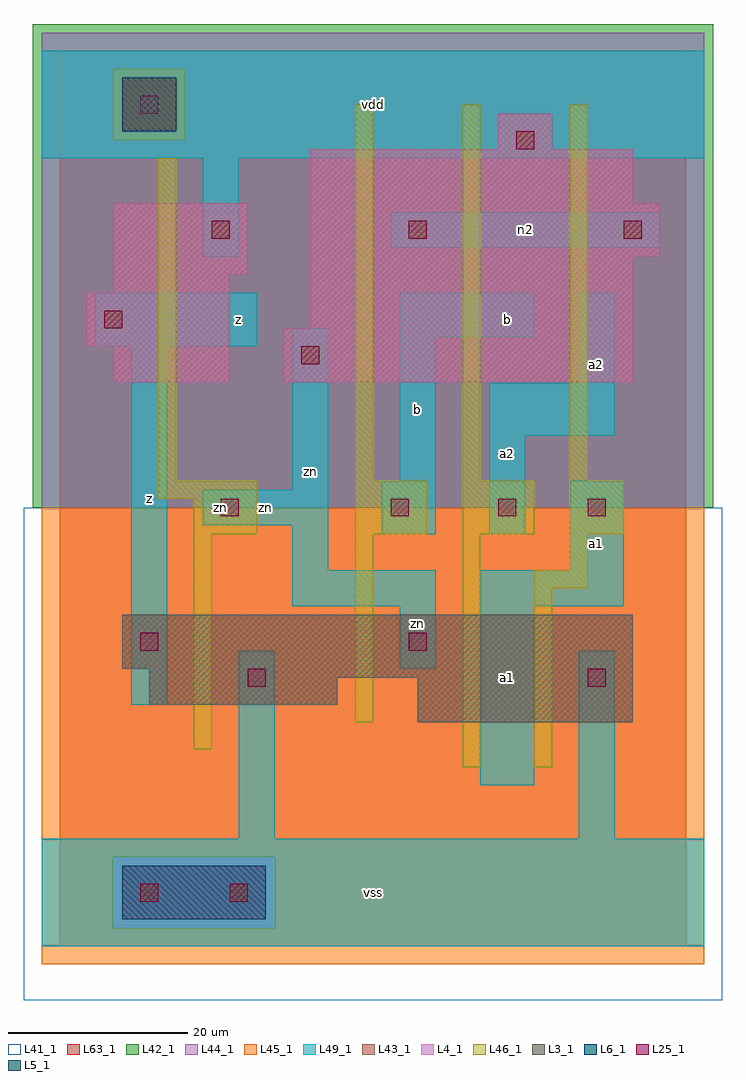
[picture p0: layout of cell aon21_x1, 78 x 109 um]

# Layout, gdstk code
import gdstk
lib = gdstk.Library(unit=1e-6, precision=1e-09)
def R(c, l, rs):  # rectangles x0, y0, x1, y1
    for r in rs: c.add(gdstk.rectangle(r[:2], r[2:], *l))
def A(c, l, x, y, w, h, nx, ny, dx, dy):  # array of equal rectangles
    R(c, l, [(x+i*dx, y+j*dy, x+i*dx+w, y+j*dy+h) for i in range(nx) for j in range(ny)])
L3_1 = (3, 1)
L4_1 = (4, 1)
L5_1 = (5, 1)
L6_1 = (6, 1)
L25_1 = (25, 1)
L41_1 = (41, 1)
L42_1 = (42, 1)
L43_1 = (43, 1)
L44_1 = (44, 1)
L45_1 = (45, 1)
L46_1 = (46, 1)
L49_1 = (49, 1)
L63_1 = (63, 1)

aon21_x1 = lib.new_cell('aon21_x1')
R(aon21_x1, L3_1, [(40,25,64,30), (10,27,31,30), (10,30,64,31), (7,31,64,37)])
R(aon21_x1, L4_1, [(6,63,19,67), (25,63,64,69), (3,67,19,73), (28,69,64,77), (6,73,19,75), (6,75,21,83), (28,77,67,83), (28,83,64,89), (49,89,55,93)])
R(aon21_x1, L5_1, [(7,91,13,97)])
R(aon21_x1, L6_1, [(7,3,23,9)])
R(aon21_x1, L25_1, [(9,5,11,7), (19,5,21,7), (21,29,23,31), (59,29,61,31), (9,33,11,35), (39,33,41,35), (18,48,20,50), (37,48,39,50), (49,48,51,50), (59,48,61,50), (27,65,29,67), (5,69,7,71), (17,79,19,81), (39,79,41,81), (63,79,65,81), (51,89,53,91), (9,93,11,95)])
R(aon21_x1, L41_1, [(-4,-6,74,49), (-3,-3,73,49)])
R(aon21_x1, L42_1, [(-3,49,73,103)])
R(aon21_x1, L43_1, [(7,3,23,9), (40,25,64,30), (10,27,31,30), (10,30,64,31), (7,31,64,37), (6,63,19,67), (25,63,64,69), (3,67,19,73), (28,69,64,77), (6,73,19,75), (6,75,21,83), (28,77,67,83), (28,83,64,89), (49,89,55,93), (7,91,13,97)])
R(aon21_x1, L44_1, [(6,2,24,10), (-2,49,72,90), (-2,90,6,98), (14,90,72,98), (-2,98,72,102)])
R(aon21_x1, L45_1, [(-2,-2,72,2), (-2,2,6,10), (24,2,72,10), (-2,10,72,49), (6,90,14,98)])
A(aon21_x1, L46_1, 33, 52, 2, 42, 3, 1, 12, 0)
R(aon21_x1, L46_1, [(45,20,47,46), (53,20,55,40), (15,22,17,46), (33,25,35,46), (53,40,59,42), (57,42,59,46), (15,46,22,50), (33,46,41,52), (45,46,53,52), (57,46,63,52), (11,50,22,52), (11,52,13,88)])
R(aon21_x1, L49_1, [(-2,0,72,12), (20,12,24,33), (58,12,62,33), (47,18,53,38), (8,27,12,67), (38,31,42,38), (26,38,42,42), (47,38,63,42), (26,42,30,47), (57,42,63,52), (36,46,42,52), (48,46,52,57), (16,47,30,51), (26,51,30,69), (38,52,42,68), (48,57,62,63), (58,63,62,73), (4,67,22,73), (38,68,53,73), (16,77,20,88), (37,78,67,82), (-2,88,72,100)])
R(aon21_x1, L63_1, [(0,0,70,100)])
aon21_x1.add(gdstk.Label('zn', (18,49), layer=49, texttype=1))
aon21_x1.add(gdstk.Label('z', (10,50), layer=49, texttype=1))
aon21_x1.add(gdstk.Label('z', (10,50), layer=49, texttype=1))
aon21_x1.add(gdstk.Label('zn', (28,53), layer=49, texttype=1))
aon21_x1.add(gdstk.Label('zn', (23,49), layer=49, texttype=1))
aon21_x1.add(gdstk.Label('z', (20,70), layer=49, texttype=1))
aon21_x1.add(gdstk.Label('z', (20,70), layer=49, texttype=1))
aon21_x1.add(gdstk.Label('vss', (35,6), layer=49, texttype=1))
aon21_x1.add(gdstk.Label('vss', (35,6), layer=49, texttype=1))
aon21_x1.add(gdstk.Label('zn', (40,36), layer=49, texttype=1))
aon21_x1.add(gdstk.Label('a1', (50,30), layer=49, texttype=1))
aon21_x1.add(gdstk.Label('a1', (50,30), layer=49, texttype=1))
aon21_x1.add(gdstk.Label('b', (50,70), layer=49, texttype=1))
aon21_x1.add(gdstk.Label('a2', (50,55), layer=49, texttype=1))
aon21_x1.add(gdstk.Label('b', (40,60), layer=49, texttype=1))
aon21_x1.add(gdstk.Label('b', (50,70), layer=49, texttype=1))
aon21_x1.add(gdstk.Label('b', (40,60), layer=49, texttype=1))
aon21_x1.add(gdstk.Label('a2', (50,55), layer=49, texttype=1))
aon21_x1.add(gdstk.Label('vdd', (35,94), layer=49, texttype=1))
aon21_x1.add(gdstk.Label('vdd', (35,94), layer=49, texttype=1))
aon21_x1.add(gdstk.Label('a1', (60,45), layer=49, texttype=1))
aon21_x1.add(gdstk.Label('a1', (60,45), layer=49, texttype=1))
aon21_x1.add(gdstk.Label('a2', (60,65), layer=49, texttype=1))
aon21_x1.add(gdstk.Label('a2', (60,65), layer=49, texttype=1))
aon21_x1.add(gdstk.Label('n2', (52,80), layer=49, texttype=1))

lib.write_gds('aon21_x1.gds')
